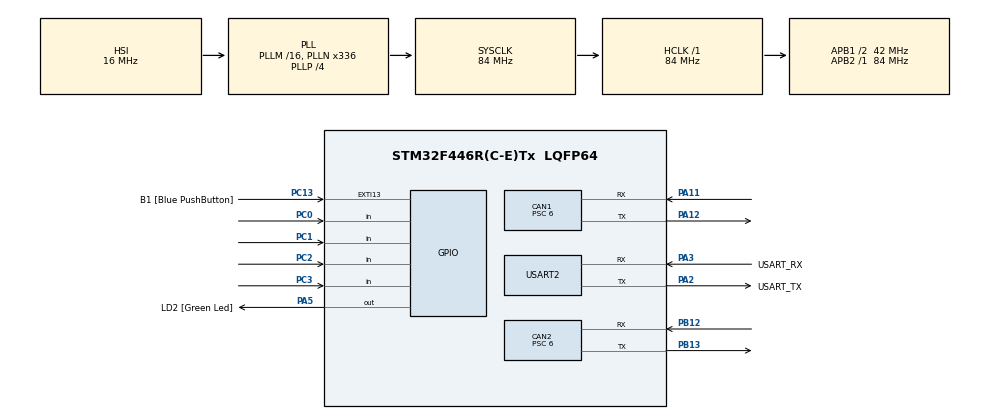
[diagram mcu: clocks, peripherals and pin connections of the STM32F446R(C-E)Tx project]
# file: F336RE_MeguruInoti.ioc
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CAN1.BS1=CAN_BS1_5TQ
CAN1.CalculateBaudRate=1000000
CAN1.CalculateTimeBit=1000
CAN1.CalculateTimeQuantum=142.85714285714286
CAN1.Prescaler=6
CAN2.BS1=CAN_BS1_5TQ
CAN2.CalculateBaudRate=1000000
CAN2.CalculateTimeBit=1000
CAN2.CalculateTimeQuantum=142.85714285714286
CAN2.Prescaler=6
Mcu.Family=STM32F4
Mcu.Name=STM32F446R(C-E)Tx
Mcu.Package=LQFP64
NVIC.CAN1_RX0_IRQn=true\:0\:0\:false\:false\:true\:true\:true\:true
NVIC.CAN2_RX0_IRQn=true\:0\:0\:false\:false\:true\:true\:true\:true
NVIC.PriorityGroup=NVIC_PRIORITYGROUP_0
PA11.Mode=CAN_Activate
PA11.Signal=CAN1_RX
PA12.Mode=CAN_Activate
PA12.Signal=CAN1_TX
PA13.GPIO_Label=TMS
PA13.Mode=Serial_Wire
PA13.Signal=SYS_JTMS-SWDIO
PA14.GPIO_Label=TCK
PA14.Mode=Serial_Wire
PA14.Signal=SYS_JTCK-SWCLK
PA2.GPIO_Label=USART_TX
PA2.Mode=Asynchronous
PA2.Signal=USART2_TX
PA3.GPIO_Label=USART_RX
PA3.Mode=Asynchronous
PA3.Signal=USART2_RX
PA5.GPIO_Label=LD2 [Green Led]
PA5.Signal=GPIO_Output
PB12.Mode=CAN_Activate
PB12.Signal=CAN2_RX
PB13.Mode=CAN_Activate
PB13.Signal=CAN2_TX
PB3.GPIO_Label=SWO
PB3.Signal=SYS_JTDO-SWO
PC0.GPIO_PuPd=GPIO_PULLUP
PC0.Signal=GPIO_Input
PC1.GPIO_PuPd=GPIO_PULLUP
PC1.Signal=GPIO_Input
PC13.GPIO_Label=B1 [Blue PushButton]
PC13.GPIO_ModeDefaultEXTI=GPIO_MODE_IT_FALLING
PC13.Signal=GPXTI13
PC14-OSC32_IN.Mode=LSE-External-Oscillator
PC14-OSC32_IN.Signal=RCC_OSC32_IN
PC15-OSC32_OUT.Mode=LSE-External-Oscillator
PC15-OSC32_OUT.Signal=RCC_OSC32_OUT
PC2.GPIO_PuPd=GPIO_PULLUP
PC2.Signal=GPIO_Input
PC3.GPIO_PuPd=GPIO_PULLUP
PC3.Signal=GPIO_Input
PH0-OSC_IN.Mode=HSE-External-Oscillator
PH0-OSC_IN.Signal=RCC_OSC_IN
PH1-OSC_OUT.Mode=HSE-External-Oscillator
PH1-OSC_OUT.Signal=RCC_OSC_OUT
ProjectManager.HeapSize=0x200
ProjectManager.StackSize=0x400
ProjectManager.TargetToolchain=CMake
RCC.48MHZClocksFreq_Value=84000000
RCC.AHBFreq_Value=84000000
RCC.APB1CLKDivider=RCC_HCLK_DIV2
RCC.APB1Freq_Value=42000000
RCC.APB1TimFreq_Value=84000000
RCC.APB2Freq_Value=84000000
RCC.APB2TimFreq_Value=84000000
RCC.CortexFreq_Value=84000000
RCC.FLatency-AdvancedSettings=FLASH_LATENCY_2
RCC.HCLKFreq_Value=84000000
RCC.HSE_VALUE=8000000
RCC.HSI_VALUE=16000000
RCC.PLLN=336
RCC.PLLP=RCC_PLLP_DIV4
RCC.SYSCLKFreq_VALUE=84000000
RCC.SYSCLKSource=RCC_SYSCLKSOURCE_PLLCLK
RCC.USBFreq_Value=168000000
RCC.VCOOutputFreq_Value=336000000
USART2.VirtualMode=VM_ASYNC
board=NUCLEO-F446RE

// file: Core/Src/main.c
/* USER CODE BEGIN Header */
/**
  ******************************************************************************
  * @file           : main.c
  * @brief          : Main program body
  ******************************************************************************
  * @attention
  *
  * Copyright (c) 2026 STMicroelectronics.
  * All rights reserved.
  *
  * This software is licensed under terms that can be found in the LICENSE file
  * in the root directory of this software component.
  * If no LICENSE file comes with this software, it is provided AS-IS.
  *
  ******************************************************************************
  */
/* USER CODE END Header */
#include "main.h"
#include "stm32f4xx_hal_gpio.h"

/* USER CODE BEGIN Includes */
#include <stdbool.h>
#include <stdint.h>
#include <stdio.h>

/* USER CODE END Includes */

CAN_HandleTypeDef hcan1;
CAN_HandleTypeDef hcan2;

UART_HandleTypeDef huart2;

void SystemClock_Config(void);
static void MX_GPIO_Init(void);
static void MX_CAN1_Init(void);
static void MX_CAN2_Init(void);
static void MX_USART2_UART_Init(void);

/* USER CODE BEGIN 0 */
uint8_t CANSend(CAN_HandleTypeDef *hcan, uint32_t id, const uint8_t *data, uint8_t len){
    CAN_TxHeaderTypeDef tx_header;
    uint32_t tx_mailbox;

    tx_header.StdId              = id & 0x7FFU;  /* 11bit標準ID */
    tx_header.ExtId              = 0;
    tx_header.IDE                = CAN_ID_STD;
    tx_header.RTR                = CAN_RTR_DATA;
    tx_header.DLC                = len;
    tx_header.TransmitGlobalTime = DISABLE;

    if (HAL_CAN_AddTxMessage(hcan, &tx_header, data, &tx_mailbox) != HAL_OK) {
        return 1;
    }
    return 0;
}

/* USER CODE END 0 */

int main(void)
{

  /* MCU Configuration--------------------------------------------------------*/

  /* Reset of all peripherals, Initializes the Flash interface and the Systick. */
    HAL_Init();

  /* Configure the system clock */
  SystemClock_Config();

  /* Initialize all configured peripherals */
  MX_GPIO_Init();
  MX_CAN1_Init();
  MX_CAN2_Init();
  MX_USART2_UART_Init();
  /* USER CODE BEGIN 2 */
  HAL_CAN_Start(&hcan1);
  HAL_CAN_Start(&hcan2);

  /* USER CODE END 2 */

  /* Infinite loop */
  /* USER CODE BEGIN WHILE */

  //出力の配列
  int16_t pwm[4] = {0, 0, 0, 0};
  uint8_t servo[8] = {0, 0, 0, 0, 0, 0, 0, 0};

  //モータの出力値
  int16_t susumi = -15000;  //回収スピード
  int16_t modori = 20000;   //放出スピード
  //サーボの回転角
  uint8_t servo_output = 32;
  /*
  サーボ角度について
  今までは64/255だったが、実験でベストな角度が変わった
  */

  //最終出力値
  int16_t fin_don_output = 0;
  uint8_t fin_servo_output = 0;

  //CANID
  const uint32_t don_id = 4;
  const uint32_t servo_id = 140;

  //制御周期
  int TxInterval = 10; // ms

  //ボタン押し回数
  int mode = 0;
  int maxMode = 6;

  //前回のボタン押し状態
  uint8_t forwardPre = 0;
  uint8_t backPre = 0;

  printf("このプログラムは「巡る命」実験用プログラム\r\n");
  printf("サーボ角度:%d, 回収速度:%d, 放出速度:%d \r\n", servo_output, susumi, modori);

  while (1)
  {
    //入力変数
    uint8_t forwardNow = !HAL_GPIO_ReadPin(GPIOC, GPIO_PIN_13);  //mode変更用
    uint8_t limit = !HAL_GPIO_ReadPin(GPIOC, GPIO_PIN_0);  //初期位置検知用
    uint8_t backNow = !HAL_GPIO_ReadPin(GPIOC, GPIO_PIN_1);  //回収制御用
    uint8_t resetPos = !HAL_GPIO_ReadPin(GPIOC, GPIO_PIN_2);  //初期位置に戻す用

    // 立ち上がりエッジのみ検出し、modeを進める
    if(forwardNow && !forwardPre){
      mode++;
      if(mode > maxMode){
        mode = 0;
      }
    }

    if(backNow && !backPre){
      mode--;
      if(mode < 0){
        mode = maxMode;
      }
    }

    /*
    ＜モードの説明＞
    0. 丼停止、サーボ0  (初期状態)
    1. 丼停止、サーボ角度 (サーボ準備)
    2. 丼正転、サーボ角度 (回収)
     押していなければ止める。
    3. 丼停止、サーボ角度 (回収完了)
    4. 丼逆転、サーボ角度  (放出)
    5. 丼停止、サーボ角度　(放出完了・一時停止)
    6. 0に戻る

    段階2の回収中に回収ストップボタンを押されたら、一瞬止められる。
    放出中にlimitを踏んだら、段階5に進む
    棒位置リセットボタンを押されたら、段階4にする

    */

    switch(mode){
      case 0:
      //初期状態
        fin_don_output = 0;
        fin_servo_output = 0;
        break;
      case 1:
      //回収準備
       fin_don_output = 0;
       fin_servo_output = servo_output;
        break;
      case 2:
      //回収中
        fin_don_output = susumi;
        fin_servo_output = servo_output;
        break;
      case 3:
      //回収完了
        fin_don_output = 0;
        fin_servo_output = servo_output;
        break;
      case 4:
      //放出中
        fin_don_output = modori;
        fin_servo_output = servo_output;
        break;
      case 5:
      //放出完了・一時停止
        fin_don_output = 0;
        fin_servo_output = servo_output;
        break;
      default:
        fin_don_output = 0;
        fin_servo_output = 0;
        mode = 0;
        break;
    }

    //回収モードのときに、回収リミスイを押したら回らないようにする
    // if(mode == 2 && kaishuStop) fin_don_output = 0;

    //放出中にlimitを踏んだときの動作
    if(mode == 4 && limit){
      fin_don_output = 0;
      fin_servo_output = 0;
      mode = 5;
    }

    //初期位置に戻すボタンを押されたら、modeを4にする
    if(resetPos) mode = 4;

    //出力値を配列に格納
    for(int i = 0; i < 4; i++) {
      pwm[i] = fin_don_output;
    }

    for(int i = 0; i < 8; i++) {
      servo[i] = fin_servo_output;
    }

    //現在の出力を表示
    printf("mode=%d, limit= %d, don=%d, servo=%d\r\n", mode, limit, fin_don_output, fin_servo_output);

    CANSend(&hcan1, don_id, (const uint8_t *)pwm, 8);
    CANSend(&hcan2, don_id, (const uint8_t *)pwm, 8);

    CANSend(&hcan1, servo_id, servo, 8);
    CANSend(&hcan2, servo_id, servo, 8);

    forwardPre = forwardNow;
    backPre = backNow;
    HAL_Delay(TxInterval);
    /* USER CODE END WHILE */

  }
}

void SystemClock_Config(void)
{
  RCC_OscInitTypeDef RCC_OscInitStruct = {0};
  RCC_ClkInitTypeDef RCC_ClkInitStruct = {0};

  /** Configure the main internal regulator output voltage
  */
  __HAL_RCC_PWR_CLK_ENABLE();
  __HAL_PWR_VOLTAGESCALING_CONFIG(PWR_REGULATOR_VOLTAGE_SCALE3);

  /** Initializes the RCC Oscillators according to the specified parameters
  * in the RCC_OscInitTypeDef structure.
  */
  RCC_OscInitStruct.OscillatorType = RCC_OSCILLATORTYPE_HSI;
  RCC_OscInitStruct.HSIState = RCC_HSI_ON;
  RCC_OscInitStruct.HSICalibrationValue = RCC_HSICALIBRATION_DEFAULT;
  RCC_OscInitStruct.PLL.PLLState = RCC_PLL_ON;
  RCC_OscInitStruct.PLL.PLLSource = RCC_PLLSOURCE_HSI;
  RCC_OscInitStruct.PLL.PLLM = 16;
  RCC_OscInitStruct.PLL.PLLN = 336;
  RCC_OscInitStruct.PLL.PLLP = RCC_PLLP_DIV4;
  RCC_OscInitStruct.PLL.PLLQ = 2;
  RCC_OscInitStruct.PLL.PLLR = 2;
  if (HAL_RCC_OscConfig(&RCC_OscInitStruct) != HAL_OK)
  {
    Error_Handler();
  }

  /** Initializes the CPU, AHB and APB buses clocks
  */
  RCC_ClkInitStruct.ClockType = RCC_CLOCKTYPE_HCLK|RCC_CLOCKTYPE_SYSCLK
                              |RCC_CLOCKTYPE_PCLK1|RCC_CLOCKTYPE_PCLK2;
  RCC_ClkInitStruct.SYSCLKSource = RCC_SYSCLKSOURCE_PLLCLK;
  RCC_ClkInitStruct.AHBCLKDivider = RCC_SYSCLK_DIV1;
  RCC_ClkInitStruct.APB1CLKDivider = RCC_HCLK_DIV2;
  RCC_ClkInitStruct.APB2CLKDivider = RCC_HCLK_DIV1;

  if (HAL_RCC_ClockConfig(&RCC_ClkInitStruct, FLASH_LATENCY_2) != HAL_OK)
  {
    Error_Handler();
  }
}

static void MX_CAN1_Init(void)
{

  hcan1.Instance = CAN1;
  hcan1.Init.Prescaler = 6;
  hcan1.Init.Mode = CAN_MODE_NORMAL;
  hcan1.Init.SyncJumpWidth = CAN_SJW_1TQ;
  hcan1.Init.TimeSeg1 = CAN_BS1_5TQ;
  hcan1.Init.TimeSeg2 = CAN_BS2_1TQ;
  hcan1.Init.TimeTriggeredMode = DISABLE;
  hcan1.Init.AutoBusOff = DISABLE;
  hcan1.Init.AutoWakeUp = DISABLE;
  hcan1.Init.AutoRetransmission = DISABLE;
  hcan1.Init.ReceiveFifoLocked = DISABLE;
  hcan1.Init.TransmitFifoPriority = DISABLE;
  if (HAL_CAN_Init(&hcan1) != HAL_OK)
  {
    Error_Handler();
  }

}

static void MX_CAN2_Init(void)
{

  hcan2.Instance = CAN2;
  hcan2.Init.Prescaler = 6;
  hcan2.Init.Mode = CAN_MODE_NORMAL;
  hcan2.Init.SyncJumpWidth = CAN_SJW_1TQ;
  hcan2.Init.TimeSeg1 = CAN_BS1_5TQ;
  hcan2.Init.TimeSeg2 = CAN_BS2_1TQ;
  hcan2.Init.TimeTriggeredMode = DISABLE;
  hcan2.Init.AutoBusOff = DISABLE;
  hcan2.Init.AutoWakeUp = DISABLE;
  hcan2.Init.AutoRetransmission = DISABLE;
  hcan2.Init.ReceiveFifoLocked = DISABLE;
  hcan2.Init.TransmitFifoPriority = DISABLE;
  if (HAL_CAN_Init(&hcan2) != HAL_OK)
  {
    Error_Handler();
  }

}

static void MX_USART2_UART_Init(void)
{

  huart2.Instance = USART2;
  huart2.Init.BaudRate = 115200;
  huart2.Init.WordLength = UART_WORDLENGTH_8B;
  huart2.Init.StopBits = UART_STOPBITS_1;
  huart2.Init.Parity = UART_PARITY_NONE;
  huart2.Init.Mode = UART_MODE_TX_RX;
  huart2.Init.HwFlowCtl = UART_HWCONTROL_NONE;
  huart2.Init.OverSampling = UART_OVERSAMPLING_16;
  if (HAL_UART_Init(&huart2) != HAL_OK)
  {
    Error_Handler();
  }

}

static void MX_GPIO_Init(void)
{
  GPIO_InitTypeDef GPIO_InitStruct = {0};

  /* GPIO Ports Clock Enable */
  __HAL_RCC_GPIOC_CLK_ENABLE();
  __HAL_RCC_GPIOH_CLK_ENABLE();
  __HAL_RCC_GPIOA_CLK_ENABLE();
  __HAL_RCC_GPIOB_CLK_ENABLE();

  /*Configure GPIO pin Output Level */
  HAL_GPIO_WritePin(LD2_GPIO_Port, LD2_Pin, GPIO_PIN_RESET);

  /*Configure GPIO pin : B1_Pin */
  GPIO_InitStruct.Pin = B1_Pin;
  GPIO_InitStruct.Mode = GPIO_MODE_IT_FALLING;
  GPIO_InitStruct.Pull = GPIO_NOPULL;
  HAL_GPIO_Init(B1_GPIO_Port, &GPIO_InitStruct);

  /*Configure GPIO pins : PC0 PC1 PC2 PC3 */
  GPIO_InitStruct.Pin = GPIO_PIN_0|GPIO_PIN_1|GPIO_PIN_2|GPIO_PIN_3;
  GPIO_InitStruct.Mode = GPIO_MODE_INPUT;
  GPIO_InitStruct.Pull = GPIO_PULLUP;
  HAL_GPIO_Init(GPIOC, &GPIO_InitStruct);

  /*Configure GPIO pin : LD2_Pin */
  GPIO_InitStruct.Pin = LD2_Pin;
  GPIO_InitStruct.Mode = GPIO_MODE_OUTPUT_PP;
  GPIO_InitStruct.Pull = GPIO_NOPULL;
  GPIO_InitStruct.Speed = GPIO_SPEED_FREQ_LOW;
  HAL_GPIO_Init(LD2_GPIO_Port, &GPIO_InitStruct);

}

/* USER CODE BEGIN 4 */
int __io_putchar(int ch)
{
    HAL_UART_Transmit(&huart2, (uint8_t *)&ch, 1, HAL_MAX_DELAY);
    return ch;
}

/* USER CODE END 4 */

void Error_Handler(void)
{
  __disable_irq();
  while (1)
  {
  }
}
